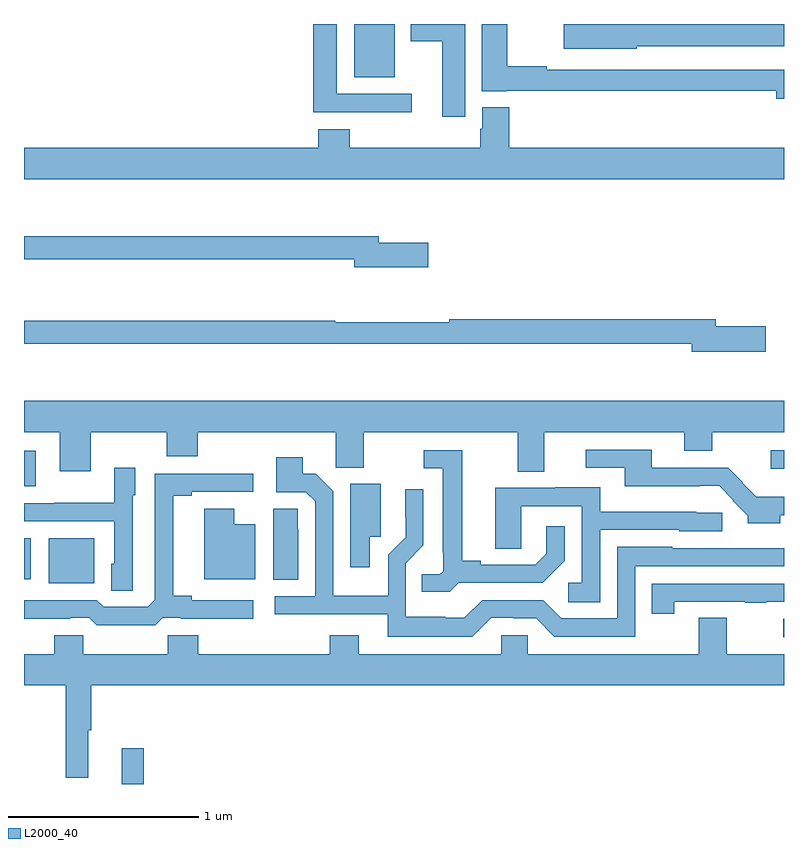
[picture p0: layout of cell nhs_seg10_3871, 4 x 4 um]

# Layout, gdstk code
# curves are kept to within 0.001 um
import gdstk
lib = gdstk.Library(unit=1e-6, precision=1e-09)
def R(c, l, rs):  # rectangles x0, y0, x1, y1
    for r in rs: c.add(gdstk.rectangle(r[:2], r[2:], *l))
def P(c, l, *ps):  # polygons
    for p in ps: c.add(gdstk.Polygon(p, *l))
L2000_40 = (2000, 40)

nhs_seg10_3871 = lib.new_cell('nhs_seg10_3871')
R(nhs_seg10_3871, L2000_40, [(325.514,1262.5,325.631,1262.689), (328.995,1263.273,329,1263.369), (325.13,1263.557,325.369,1263.793), (325,1263.578,325.036,1263.793), (325,1264.068,325.063,1264.255), (328.929,1264.16,329,1264.257), (326.738,1266.221,326.95,1266.5)])
P(nhs_seg10_3871, L2000_40, [(328.224,1266.384),(329,1266.384),(329,1266.5),(327.84,1266.5),(327.84,1266.371),(328.224,1266.371)],
  [(329,1266.258),(327.752,1266.258),(327.752,1266.278),(327.544,1266.278),(327.544,1266.5),(327.41,1266.5),(327.41,1266.146),(327.54,1266.146),(327.54,1266.15),(328.958,1266.15),(328.958,1266.107),(329,1266.107)],
  [(327.04,1266.132),(326.647,1266.132),(326.647,1266.5),(326.522,1266.5),(326.522,1266.035),(327.04,1266.035)],
  [(327.322,1266.5),(327.035,1266.5),(327.035,1266.41),(327.2,1266.41),(327.2,1266.012),(327.322,1266.012)],
  [(329,1265.848),(327.554,1265.848),(327.554,1266.061),(327.413,1266.061),(327.413,1265.949),(327.401,1265.949),(327.401,1265.848),(326.714,1265.848),(326.714,1265.947),(326.549,1265.947),(326.549,1265.848),(325,1265.848),(325,1265.684),(329,1265.684)],
  [(327.127,1265.349),(326.866,1265.349),(326.866,1265.383),(325,1265.383),(325,1265.262),(326.738,1265.262),(326.738,1265.219),(327.127,1265.219)],
  [(328.903,1264.91),(328.642,1264.91),(328.642,1264.946),(327.238,1264.946),(327.238,1264.931),(326.638,1264.931),(326.638,1264.939),(325,1264.939),(325,1264.818),(328.514,1264.818),(328.514,1264.775),(328.903,1264.775)],
  [(325,1264.352),(325.187,1264.352),(325.187,1264.146),(325.351,1264.146),(325.351,1264.352),(325.751,1264.352),(325.751,1264.224),(325.915,1264.224),(325.915,1264.352),(326.64,1264.352),(326.64,1264.165),(326.787,1264.165),(326.787,1264.352),(327.599,1264.352),(327.599,1264.144),(327.739,1264.144),(327.739,1264.352),(328.475,1264.352),(328.475,1264.253),(328.623,1264.253),(328.623,1264.352),(329,1264.352),(329,1264.516),(325,1264.516)],
  [(328.981,1263.915),(329,1263.915),(329,1264.012),(328.855,1264.012),(328.781,1264.085),(328.783,1264.087),(328.707,1264.164),(328.303,1264.164),(328.303,1264.26),(327.957,1264.26),(327.957,1264.164),(328.163,1264.164),(328.163,1264.067),(328.556,1264.067),(328.556,1264.07),(328.658,1264.07),(328.734,1263.993),(328.731,1263.99),(328.81,1263.912),(328.81,1263.872),(328.981,1263.872)],
  [(327.288,1263.558),(327.73,1263.558),(327.846,1263.674),(327.846,1263.856),(327.749,1263.856),(327.749,1263.711),(327.692,1263.654),(327.403,1263.654),(327.403,1263.674),(327.307,1263.674),(327.307,1264.257),(327.105,1264.257),(327.105,1264.161),(327.203,1264.161),(327.203,1263.721),(327.207,1263.721),(327.207,1263.621),(327.189,1263.603),(327.094,1263.603),(327.094,1263.511),(327.24,1263.511)],
  [(327.459,1263.375),(327.576,1263.375),(327.576,1263.372),(327.696,1263.372),(327.792,1263.276),(328.218,1263.276),(328.218,1263.645),(329,1263.645),(329,1263.742),(328.413,1263.741),(328.413,1263.748),(328.122,1263.748),(328.122,1263.372),(327.828,1263.372),(327.732,1263.468),(327.411,1263.468),(327.318,1263.375),(327.218,1263.375),(327.218,1263.379),(327.009,1263.379),(327.009,1263.663),(327.102,1263.756),(327.102,1264.051),(327.006,1264.051),(327.006,1263.904),(327.008,1263.904),(327.008,1263.798),(326.916,1263.706),(326.916,1263.49),(326.628,1263.49),(326.628,1264.041),(326.535,1264.134),(326.467,1264.134),(326.467,1264.219),(326.327,1264.219),(326.327,1264.035),(326.484,1264.035),(326.532,1263.987),(326.532,1263.489),(326.319,1263.489),(326.319,1263.393),(326.915,1263.393),(326.915,1263.275),(327.359,1263.275)],
  [(325.572,1264.02),(325.585,1264.02),(325.585,1264.165),(325.476,1264.165),(325.476,1263.979),(325.159,1263.979),(325.159,1263.978),(325,1263.978),(325,1263.882),(325.476,1263.882),(325.476,1263.66),(325.46,1263.66),(325.46,1263.517),(325.572,1263.517)],
  [(325.731,1263.375),(325.825,1263.375),(325.825,1263.371),(326.206,1263.371),(326.206,1263.468),(325.882,1263.468),(325.882,1263.491),(325.786,1263.491),(325.786,1264.018),(325.882,1264.018),(325.882,1264.038),(326.206,1264.038),(326.206,1264.134),(325.689,1264.134),(325.689,1263.471),(325.65,1263.432),(325.419,1263.432),(325.383,1263.468),(325,1263.468),(325,1263.367),(325.004,1263.371),(325.244,1263.371),(325.244,1263.375),(325.344,1263.375),(325.384,1263.336),(325.691,1263.336)],
  [(326.821,1263.801),(326.878,1263.801),(326.878,1264.08),(326.717,1264.08),(326.717,1263.642),(326.821,1263.642)],
  [(328.032,1263.837),(328.449,1263.837),(328.449,1263.831),(328.674,1263.831),(328.674,1263.927),(328.539,1263.927),(328.539,1263.934),(328.033,1263.934),(328.033,1264.063),(327.797,1264.063),(327.797,1264.059),(327.479,1264.059),(327.479,1263.739),(327.618,1263.739),(327.618,1263.963),(327.936,1263.963),(327.936,1263.558),(327.864,1263.558),(327.864,1263.457),(328.032,1263.457)],
  [(326.443,1263.842),(326.442,1263.842),(326.442,1263.95),(326.312,1263.95),(326.312,1263.574),(326.443,1263.574)],
  [(326.218,1263.868),(326.107,1263.868),(326.107,1263.949),(325.949,1263.949),(325.949,1263.578),(326.218,1263.578)],
  [(328.422,1263.459),(328.795,1263.459),(328.795,1263.454),(328.907,1263.454),(328.907,1263.459),(329,1263.459),(329,1263.555),(328.303,1263.555),(328.303,1263.396),(328.422,1263.396)],
  [(325.337,1262.784),(325.355,1262.784),(325.355,1263.02),(329,1263.02),(329,1263.184),(328.699,1263.184),(328.699,1263.374),(328.552,1263.374),(328.552,1263.184),(327.651,1263.184),(327.651,1263.282),(327.513,1263.282),(327.513,1263.184),(326.761,1263.184),(326.761,1263.283),(326.609,1263.283),(326.609,1263.184),(325.916,1263.184),(325.916,1263.282),(325.756,1263.282),(325.756,1263.184),(325.311,1263.184),(325.311,1263.282),(325.16,1263.282),(325.16,1263.184),(325,1263.184),(325,1263.02),(325.219,1263.02),(325.219,1262.532),(325.337,1262.532)])

lib.write_gds('nhs_seg10_3871.gds')
